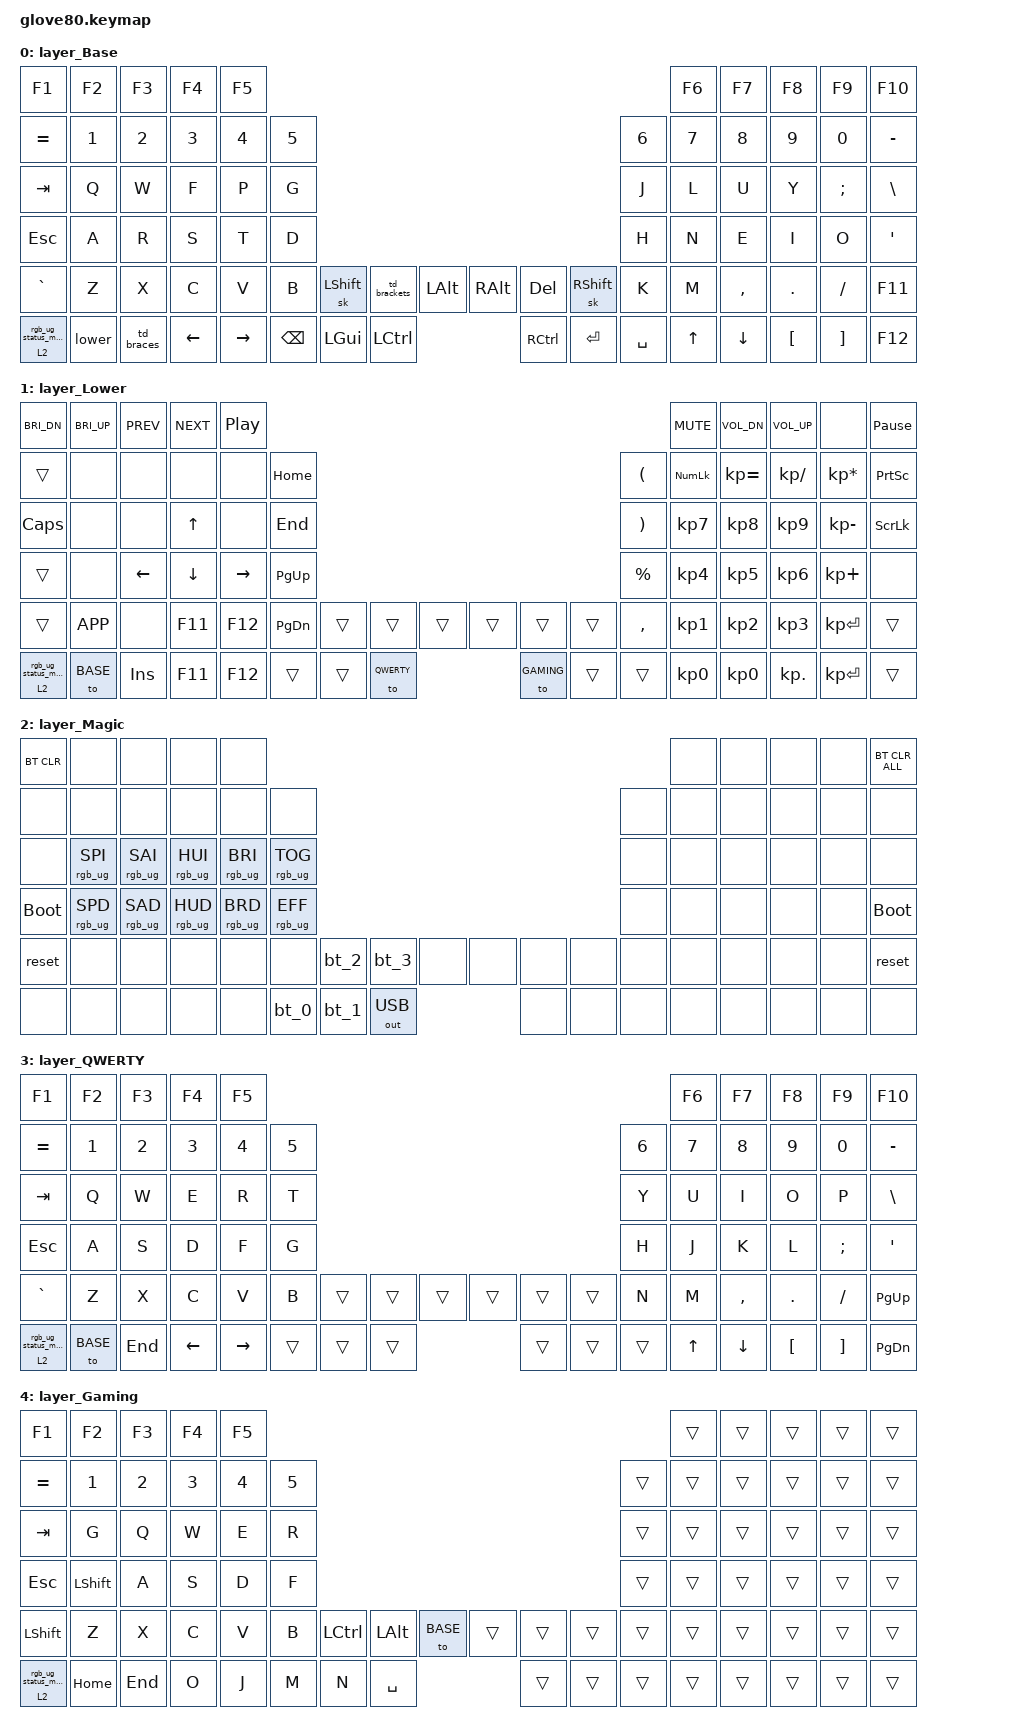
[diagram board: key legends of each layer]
#include <behaviors.dtsi>
#include <dt-bindings/zmk/outputs.h>
#include <dt-bindings/zmk/keys.h>
#include <dt-bindings/zmk/bt.h>
#include <dt-bindings/zmk/rgb.h>
#include <dt-bindings/zmk/outputs.h>

#define BASE 0
#define LOWER 1
#define MAGIC 2
#define QWERTY 3
#define GAMING 4

/ {
    /* Glove80 system behavior & macros */
    behaviors {
        // For the "layer" key, it'd nice to be able to use it as either a shift or a toggle.
        // Configure it as a tap dance, so the first tap (or hold) is a &mo and the second tap is a &to
        lower: tap_dance_0 {
            compatible = "zmk,behavior-tap-dance";
            label = "LAYER_TAP_DANCE";
            #binding-cells = <0>;
            tapping-term-ms = <200>;
            bindings = <&mo 1>, <&to 1>;
        };

        td_brackets: tap_dance_brackets {
            compatible = "zmk,behavior-tap-dance";
            label = "TAP_DANCE_BRACKETS";
            #binding-cells = <0>;
            tapping-term-ms = <200>;
            bindings = <&mt N LEFT_BRACKET>, <&kp RIGHT_BRACKET>;
        };

        td_braces: tap_dance_braces {
            compatible = "zmk,behavior-tap-dance";
            label = "TAP_DANCE_BRACES";
            #binding-cells = <0>;
            tapping-term-ms = <200>;
            bindings = <&mt E LEFT_BRACE>, <&kp RIGHT_BRACE>;
        };
    };
};

/ {
    macros {
        rgb_ug_status_macro: rgb_ug_status_macro_0 {
            label = "RGB_UG_STATUS";
            compatible = "zmk,behavior-macro";
            #binding-cells = <0>;
            bindings
                = <&rgb_ug RGB_STATUS>;
        };

        bt_0: bt_profile_macro_0 {
            label = "BT_0";
            compatible = "zmk,behavior-macro";
            #binding-cells = <0>;
            bindings
                = <&out OUT_BLE>,
                  <&bt BT_SEL 0>;
        };

        bt_1: bt_profile_macro_1 {
            label = "BT_1";
            compatible = "zmk,behavior-macro";
            #binding-cells = <0>;
            bindings
                = <&out OUT_BLE>,
                  <&bt BT_SEL 1>;
        };

        bt_2: bt_profile_macro_2 {
            label = "BT_2";
            compatible = "zmk,behavior-macro";
            #binding-cells = <0>;
            bindings
                = <&out OUT_BLE>,
                  <&bt BT_SEL 2>;
        };

        bt_3: bt_profile_macro_3 {
            label = "BT_3";
            compatible = "zmk,behavior-macro";
            #binding-cells = <0>;
            bindings
                = <&out OUT_BLE>,
                  <&bt BT_SEL 3>;
        };

        m_brackets: brackets_macro {
                    label = "BRACKETS";
                    compatible = "zmk,behavior-macro";
                    #binding-cells = <0>;
                    bindings
                        = <&macro_tap &kp LEFT_BRACKET &kp RIGHT_BRACKET>;
                };

        m_braces: braces_macro {
                    label = "BRACES";
                    compatible = "zmk,behavior-macro";
                    #binding-cells = <0>;
                    bindings
                        = <&macro_tap &kp LEFT_BRACE &kp RIGHT_BRACE>;
                };
    };
};

/ {
    magic: magic_hold_tap {
        compatible = "zmk,behavior-hold-tap";
        label = "MAGIC_HOLD_TAP";
        #binding-cells = <2>;
        flavor = "tap-preferred";
        tapping-term-ms = <200>;
        bindings = <&mo>, <&rgb_ug_status_macro>;
    };
};

/ {
    keymap {
        compatible = "zmk,keymap";

        layer_Base {
            bindings = <
     &kp F1  &kp F2    &kp F3    &kp F4     &kp F5                                                                                 &kp F6     &kp F7    &kp F8    &kp F9    &kp F10
  &kp EQUAL  &kp N1    &kp N2    &kp N3     &kp N4  &kp N5                                                                 &kp N6  &kp N7     &kp N8    &kp N9    &kp N0  &kp MINUS
    &kp TAB   &kp Q     &kp W     &kp F      &kp P   &kp G                                                                  &kp J   &kp L      &kp U     &kp Y  &kp SEMI   &kp BSLH
    &kp ESC   &kp A     &kp R     &kp S      &kp T   &kp D                                                                  &kp H   &kp N      &kp E     &kp I     &kp O    &kp SQT
  &kp GRAVE   &kp Z     &kp X     &kp C      &kp V   &kp B  &sk LSHFT  &td_brackets   &kp LALT   &kp RALT  &kp DEL  &sk RSHFT   &kp K   &kp M  &kp COMMA   &kp DOT  &kp FSLH    &kp F11
  &magic 2 0  &lower  &td_braces  &kp LEFT  &kp RIGHT           &kp BSPC  &kp LGUI  &kp LCTRL  &kp RCTRL  &kp RET  &kp SPACE          &kp UP   &kp DOWN  &kp LBKT  &kp RBKT    &kp F12 >;
        };

        layer_Lower {
            bindings = <
 &kp C_BRI_DN  &kp C_BRI_UP      &kp C_PREV      &kp C_NEXT         &kp C_PP                                                                                    &kp C_MUTE  &kp C_VOL_DN  &kp C_VOL_UP            &none  &kp PAUSE_BREAK
       &trans         &none           &none           &none            &none   &kp HOME                                                   &kp LEFT_PARENTHESIS  &kp KP_NUM  &kp KP_EQUAL  &kp KP_SLASH  &kp KP_MULTIPLY  &kp PRINTSCREEN
     &kp CAPS         &none           &none    &kp UP_ARROW            &none    &kp END                                                  &kp RIGHT_PARENTHESIS   &kp KP_N7     &kp KP_N8     &kp KP_N9     &kp KP_MINUS   &kp SCROLLLOCK
       &trans         &none  &kp LEFT_ARROW  &kp DOWN_ARROW  &kp RIGHT_ARROW  &kp PG_UP                                                            &kp PERCENT   &kp KP_N4     &kp KP_N5     &kp KP_N6      &kp KP_PLUS            &none
       &trans     &kp K_APP           &none         &kp F11          &kp F12  &kp PG_DN  &trans  &trans  &trans  &trans  &trans  &trans              &kp COMMA   &kp KP_N1     &kp KP_N2     &kp KP_N3     &kp KP_ENTER           &trans
   &magic 2 0         &to BASE        &kp INS       &kp F11          &kp F12             &trans  &trans  &to QWERTY &to GAMING  &trans  &trans                          &kp KP_N0     &kp KP_N0    &kp KP_DOT     &kp KP_ENTER           &trans
            >;
        };

        layer_Magic {
            bindings = <
  &bt BT_CLR            &none            &none            &none            &none                                                                                  &none   &none   &none   &none  &bt BT_CLR_ALL
       &none            &none            &none            &none            &none            &none                                                         &none   &none   &none   &none   &none           &none
       &none  &rgb_ug RGB_SPI  &rgb_ug RGB_SAI  &rgb_ug RGB_HUI  &rgb_ug RGB_BRI  &rgb_ug RGB_TOG                                                         &none   &none   &none   &none   &none           &none
 &bootloader  &rgb_ug RGB_SPD  &rgb_ug RGB_SAD  &rgb_ug RGB_HUD  &rgb_ug RGB_BRD  &rgb_ug RGB_EFF                                                         &none   &none   &none   &none   &none     &bootloader
      &reset            &none            &none            &none            &none            &none   &bt_2   &bt_3         &none   &none   &none   &none   &none   &none   &none   &none   &none          &reset
       &none            &none            &none            &none            &none                    &bt_0   &bt_1  &out OUT_USB   &none   &none   &none           &none   &none   &none   &none           &none
            >;
        };

        layer_QWERTY {
            bindings = <
     &kp F1  &kp F2   &kp F3    &kp F4     &kp F5                                                                  &kp F6     &kp F7    &kp F8    &kp F9    &kp F10
  &kp EQUAL  &kp N1   &kp N2    &kp N3     &kp N4  &kp N5                                                  &kp N6  &kp N7     &kp N8    &kp N9    &kp N0  &kp MINUS
    &kp TAB   &kp Q    &kp W     &kp E      &kp R   &kp T                                                   &kp Y   &kp U      &kp I     &kp O     &kp P   &kp BSLH
    &kp ESC   &kp A    &kp S     &kp D      &kp F   &kp G                                                   &kp H   &kp J      &kp K     &kp L  &kp SEMI    &kp SQT
  &kp GRAVE   &kp Z    &kp X     &kp C      &kp V   &kp B  &trans  &trans  &trans  &trans  &trans  &trans   &kp N   &kp M  &kp COMMA   &kp DOT  &kp FSLH  &kp PG_UP
 &magic 2 0   &to BASE  &kp END  &kp LEFT  &kp RIGHT          &trans  &trans  &trans  &trans  &trans  &trans          &kp UP   &kp DOWN  &kp LBKT  &kp RBKT  &kp PG_DN
            >;
        };

        layer_Gaming {
            bindings = <
     &kp F1     &kp F2   &kp F3  &kp F4  &kp F5                                                                          &trans  &trans  &trans  &trans  &trans
  &kp EQUAL     &kp N1   &kp N2  &kp N3  &kp N4  &kp N5                                                          &trans  &trans  &trans  &trans  &trans  &trans
    &kp TAB      &kp G    &kp Q   &kp W   &kp E   &kp R                                                          &trans  &trans  &trans  &trans  &trans  &trans
    &kp ESC  &kp LSHFT    &kp A   &kp S   &kp D   &kp F                                                          &trans  &trans  &trans  &trans  &trans  &trans
  &kp LSHFT      &kp Z    &kp X   &kp C   &kp V   &kp B  &kp LCTRL  &kp LALT      &to BASE  &trans  &trans  &trans  &trans  &trans  &trans  &trans  &trans  &trans
 &magic 2 0   &kp HOME  &kp END   &kp O   &kp J              &kp M     &kp N  &kp SPACE  &trans  &trans  &trans          &trans  &trans  &trans  &trans  &trans
            >;
        };

    };
};
